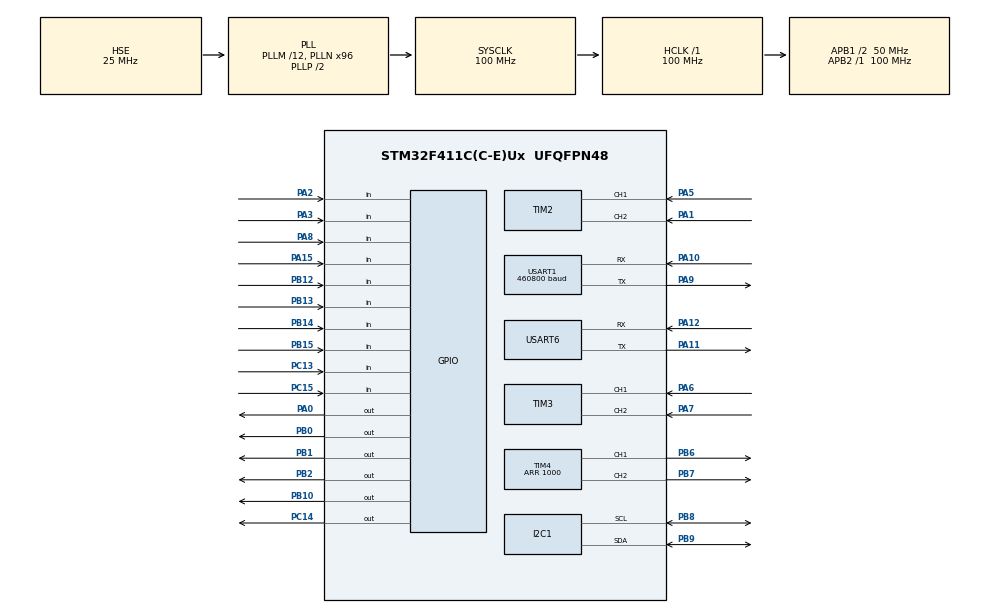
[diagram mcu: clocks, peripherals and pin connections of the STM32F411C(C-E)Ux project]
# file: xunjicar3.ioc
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Dma.Request0=USART1_RX
Dma.USART1_RX.0.Direction=DMA_PERIPH_TO_MEMORY
Dma.USART1_RX.0.FIFOMode=DMA_FIFOMODE_DISABLE
Dma.USART1_RX.0.Instance=DMA2_Stream2
Dma.USART1_RX.0.MemDataAlignment=DMA_MDATAALIGN_BYTE
Dma.USART1_RX.0.MemInc=DMA_MINC_ENABLE
Dma.USART1_RX.0.Mode=DMA_NORMAL
Dma.USART1_RX.0.PeriphDataAlignment=DMA_PDATAALIGN_BYTE
Dma.USART1_RX.0.PeriphInc=DMA_PINC_DISABLE
Dma.USART1_RX.0.Priority=DMA_PRIORITY_HIGH
Mcu.Family=STM32F4
Mcu.Name=STM32F411C(C-E)Ux
Mcu.Package=UFQFPN48
NVIC.DMA2_Stream2_IRQn=true\:0\:0\:false\:false\:true\:false\:true\:true
NVIC.PriorityGroup=NVIC_PRIORITYGROUP_4
NVIC.TIM1_UP_TIM10_IRQn=true\:0\:0\:false\:false\:true\:true\:true\:true
NVIC.USART1_IRQn=true\:2\:0\:true\:false\:true\:true\:true\:true
PA0-WKUP.PinState=GPIO_PIN_SET
PA0-WKUP.Signal=GPIO_Output
PA1.Signal=S_TIM2_CH2
PA10.Mode=Asynchronous
PA10.Signal=USART1_RX
PA11.Mode=Asynchronous
PA11.Signal=USART6_TX
PA12.Mode=Asynchronous
PA12.Signal=USART6_RX
PA13.Mode=Serial_Wire
PA13.Signal=SYS_JTMS-SWDIO
PA14.Mode=Serial_Wire
PA14.Signal=SYS_JTCK-SWCLK
PA15.GPIO_PuPd=GPIO_NOPULL
PA15.Signal=GPIO_Input
PA2.Signal=GPIO_Input
PA3.Signal=GPIO_Input
PA5.Signal=S_TIM2_CH1_ETR
PA6.Signal=S_TIM3_CH1
PA7.Signal=S_TIM3_CH2
PA8.Signal=GPIO_Input
PA9.Mode=Asynchronous
PA9.Signal=USART1_TX
PB0.Signal=GPIO_Output
PB1.Signal=GPIO_Output
PB10.Signal=GPIO_Output
PB12.Signal=GPIO_Input
PB13.Signal=GPIO_Input
PB14.Signal=GPIO_Input
PB15.Signal=GPIO_Input
PB2.Signal=GPIO_Output
PB6.Signal=S_TIM4_CH1
PB7.Signal=S_TIM4_CH2
PB8.Mode=I2C
PB8.Signal=I2C1_SCL
PB9.Mode=I2C
PB9.Signal=I2C1_SDA
PC13-ANTI_TAMP.Signal=GPIO_Input
PC14-OSC32_IN.PinState=GPIO_PIN_SET
PC14-OSC32_IN.Signal=GPIO_Output
PC15-OSC32_OUT.Signal=GPIO_Input
PH0\ -\ OSC_IN.Mode=HSE-External-Oscillator
PH0\ -\ OSC_IN.Signal=RCC_OSC_IN
PH1\ -\ OSC_OUT.Mode=HSE-External-Oscillator
PH1\ -\ OSC_OUT.Signal=RCC_OSC_OUT
ProjectManager.HeapSize=0x200
ProjectManager.StackSize=0x400
ProjectManager.TargetToolchain=STM32CubeIDE
RCC.48MHZClocksFreq_Value=50000000
RCC.AHBFreq_Value=100000000
RCC.APB1CLKDivider=RCC_HCLK_DIV2
RCC.APB1Freq_Value=50000000
RCC.APB1TimFreq_Value=100000000
RCC.APB2Freq_Value=100000000
RCC.APB2TimFreq_Value=100000000
RCC.CortexFreq_Value=100000000
RCC.HCLKFreq_Value=100000000
RCC.HSE_VALUE=25000000
RCC.HSI_VALUE=16000000
RCC.LSE_VALUE=32768
RCC.PLLM=12
RCC.PLLN=96
RCC.PLLSourceVirtual=RCC_PLLSOURCE_HSE
RCC.SYSCLKFreq_VALUE=100000000
RCC.SYSCLKSource=RCC_SYSCLKSOURCE_PLLCLK
RCC.VCOOutputFreq_Value=200000000
SH.S_TIM2_CH1_ETR.0=TIM2_CH1,Encoder_Interface
SH.S_TIM2_CH2.0=TIM2_CH2,Encoder_Interface
SH.S_TIM3_CH1.0=TIM3_CH1,Encoder_Interface
SH.S_TIM3_CH2.0=TIM3_CH2,Encoder_Interface
SH.S_TIM4_CH1.0=TIM4_CH1,PWM Generation1 CH1
SH.S_TIM4_CH2.0=TIM4_CH2,PWM Generation2 CH2
TIM10.Period=999
TIM10.Prescaler=999
TIM2.EncoderMode=TIM_ENCODERMODE_TI12
TIM3.EncoderMode=TIM_ENCODERMODE_TI12
TIM4.Channel-PWM\ Generation1\ CH1=TIM_CHANNEL_1
TIM4.Channel-PWM\ Generation2\ CH2=TIM_CHANNEL_2
TIM4.Period=1000
USART1.BaudRate=460800
USART1.VirtualMode=VM_ASYNC
USART6.VirtualMode=VM_ASYNC
VP_TIM10_VS_ClockSourceINT.Mode=Enable_Timer
board=custom

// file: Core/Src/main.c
/* USER CODE BEGIN Header */
/**
  ******************************************************************************
  * @file           : main.c
  * @brief          : Main program body
  ******************************************************************************
  * @attention
  *
  * Copyright (c) 2026 STMicroelectronics.
  * All rights reserved.
  *
  * This software is licensed under terms that can be found in the LICENSE file
  * in the root directory of this software component.
  * If no LICENSE file comes with this software, it is provided AS-IS.
  *
  ******************************************************************************
  */
/* USER CODE END Header */
#include "main.h"
#include "dma.h"
#include "i2c.h"
#include "tim.h"
#include "usart.h"
#include "gpio.h"

/* USER CODE BEGIN Includes */
#include <string.h>
#include "control.h"
#include "oled.h"
#include "stdio.h"
/* USER CODE END Includes */

/* USER CODE BEGIN PTD */

uint32_t last_tick = 0; //oled 调试信息上次打印的时间
uint8_t display_buf[64]; //显示信息缓冲区
uint32_t last_vision_time = 0; //上一次视觉识别时间
int err_x = 0, err_y = 0;
int distance = 0;
#define RX_MAX_LEN 128  //串口dma中断
char rx_buffer[RX_MAX_LEN + 1]; //串口dma中断
uint8_t rx_flag = 0; //串口dma中断
uint16_t rx_packet_len = 0; //串口dma中断

/* USER CODE END PTD */

void SystemClock_Config(void);

int main(void)
{

  /* MCU Configuration--------------------------------------------------------*/

  /* Reset of all peripherals, Initializes the Flash interface and the Systick. */
  HAL_Init();

  /* Configure the system clock */
  SystemClock_Config();

  /* Initialize all configured peripherals */
  MX_GPIO_Init();
  MX_DMA_Init();
  MX_TIM2_Init();
  MX_TIM3_Init();
  MX_TIM4_Init();
  MX_TIM10_Init();
  MX_USART1_UART_Init();
  MX_I2C1_Init();
  MX_USART6_UART_Init();
  /* USER CODE BEGIN 2 */
    HAL_GPIO_WritePin(GPIOC, GPIO_PIN_14, GPIO_PIN_SET);
    HAL_GPIO_WritePin(GPIOC, GPIO_PIN_13, GPIO_PIN_RESET);
    OLED_Init();
    OLED_Clear();
    OLED_ShowString(0, 0, "System Init...", 12);

    Motor_Init(&MotorA,
               GPIOB, GPIO_PIN_2,
               GPIOB, GPIO_PIN_10,
               &htim4, TIM_CHANNEL_1,
               &htim2);

    Motor_Init(&MotorB,
               GPIOB, GPIO_PIN_1,
               GPIOB, GPIO_PIN_0,
               &htim4, TIM_CHANNEL_2,
               &htim3);
    Car_Strategy_Init();

    HAL_TIM_Base_Start_IT(&htim10);
    HAL_UARTEx_ReceiveToIdle_DMA(&huart1, (uint8_t*)rx_buffer, RX_MAX_LEN);

    OLED_ShowString(0, 1, "Ready to Go!", 12);
  /* USER CODE END 2 */

  /* Infinite loop */
  /* USER CODE BEGIN WHILE */
    while (1)
    {

        static uint8_t key_lock = 0;

        if (HAL_GPIO_ReadPin(GPIOA, GPIO_PIN_15) == GPIO_PIN_RESET) // 检测到按键按下
        {
            if (key_lock == 0)
            {
                HAL_Delay(20); // 软件消抖
                if (HAL_GPIO_ReadPin(GPIOA, GPIO_PIN_15) == GPIO_PIN_RESET)
                {
                    // 核心逻辑：在 TRACKING 和 FINISHED 之间来回翻转
                    if (Current_Stop_State == STATE_TRACKING)
                    {
                        Current_Stop_State = STATE_FINISHED;
                        finish_camera_task = 1;

                        // 【安全保护】：强行切到完成状态时，立刻让电机断电停止
                        Car_Set_Speed(&MotorA, 0);
                        Car_Set_Speed(&MotorB, 0);
                    }
                    else
                    {
                        // 重新开始循迹
                        car_mode = MODE_LINE_TRACKING;      // 确保主模式正确
                        Current_Stop_State = STATE_TRACKING; // 切换回循迹阶段
                        Car_Strategy_Init();
                        distance = 0;
                        finish_camera_task = 0;
                    }

                    key_lock = 1; // 锁死按键
                }
            }
        }
        else
        {
            key_lock = 0; // 手松开，解锁
        }

        // 视觉超时保护，100ms 没收到有效视觉包，自动退回循迹
        if (car_mode == MODE_VISION_FOLLOW)
        {
            if (HAL_GetTick() - last_vision_time > 100)
            {
                car_mode = MODE_LINE_TRACKING;
                Car_Set_Speed(&MotorA, 0);
                Car_Set_Speed(&MotorB, 0);
            }
        }

        // 视觉模式控制

       if (rx_flag == 1)
        {
            // === 【核心优化 1】：引入影子缓冲区，保护活体 DMA 内存 ===
            static char parse_buffer[RX_MAX_LEN + 1];

            uint16_t len = rx_packet_len;
            if (len > RX_MAX_LEN) len = RX_MAX_LEN;

            // 瞬间把数据捞出来，不给 DMA 干扰的机会
            memcpy(parse_buffer, rx_buffer, len);
            parse_buffer[len] = '\0';

            // 捞完数据立刻允许接收下一帧，且绝对不要对 rx_buffer 动用 memset！
            rx_flag = 0;

            // 局部变量初始化
            int local_err_x = 0, local_err_y = 0, local_distance = 0;

            // === 【核心优化 2】：推荐在 OpenMV 端将发送格式改为 "#%d,%d,%d\r\n" ===
            // 如果 OpenMV 端加了 '#' 帧头，这里改成 sscanf(parse_buffer, "#%d,%d,%d", ...)
            int matched = sscanf(parse_buffer, "#%d,%d,%d", &local_err_x, &local_err_y, &local_distance);

            if (matched == 3)
            {
                // 数据合法性刚性过滤（根据 OpenMV 实际范围加一道防火墙）
                // 既然 OpenMV 只发 20~100，任何超出这个范围的数据直接丢弃！
                if (local_distance >= 10 && local_distance <= 110)
                {
                    // 校验通过，再赋值给全局变量
                    err_x = local_err_x;
                    err_y = local_err_y;
                    distance = local_distance;

                    if (finish_camera_task == 0)
                    {
                        if (car_mode == MODE_LINE_TRACKING && distance <= STOP_DISTANCE)
                        {
                            car_mode = MODE_VISION_FOLLOW;
                        }

                        if (car_mode == MODE_VISION_FOLLOW)
                        {
                            last_vision_time = HAL_GetTick();

                            // 你的刚性限幅保持
                            if (distance >= 100) distance = 100;

                            track_camera((float)err_x, (float)distance);
                        }
                    }
                }
            }
            // 【核心优化 3】：删除了原先的 memset(rx_buffer, 0, RX_MAX_LEN);
        }

        //显示信息
        if (HAL_GetTick() - last_tick >= 500)
        {
            last_tick = HAL_GetTick();
            sprintf((char*)display_buf, "dist:%d     ", distance);
            OLED_ShowString(0, 6, display_buf, 16);
            sprintf((char*)display_buf, "Lt%.2f;Rt%.2f", MotorA.speed_target, MotorB.speed_target);
            OLED_ShowString(0, 0, display_buf, 12);

            sprintf((char*)display_buf, "Lr%.2f;Rr%.2f", MotorA.speed, MotorB.speed);
            OLED_ShowString(0, 1, display_buf, 12);

            if (car_mode == MODE_LINE_TRACKING)
            {
                OLED_ShowString(0, 2, (uint8_t*)"Mode: TRACKING ", 12);
            }
            if (car_mode == MODE_VISION_FOLLOW)
            {
                OLED_ShowString(0, 2, (uint8_t*)"Mode: VISION   ", 12);
            }
            if (car_mode == MODE_STANDBY)
            {
                OLED_ShowString(0, 2, (uint8_t*)"Mode: STANDBY   ", 12);
            }
            if (car_mode == MODE_BACKING)
            {
                OLED_ShowString(0, 2, (uint8_t*)"Mode: BACKING   ", 12);
            }

            if (Current_Stop_State == STATE_TRACKING)
            {
                OLED_ShowString(0, 3, (uint8_t*)"Mode1", 12);
            }
            if (Current_Stop_State == STATE_CROSSING_BAR)
            {
                OLED_ShowString(0, 3, (uint8_t*)"Mode2", 12);
            }
            if (Current_Stop_State == STATE_MOVE_TO_GARAGE)
            {
                OLED_ShowString(0, 3, (uint8_t*)"Mode3", 12);
            }
            if (Current_Stop_State == STATE_FINISHED)
            {
                OLED_ShowString(0, 3, (uint8_t*)"Mode4", 12);
            }
        }
    /* USER CODE END WHILE */

    }
}

void SystemClock_Config(void)
{
  RCC_OscInitTypeDef RCC_OscInitStruct = {0};
  RCC_ClkInitTypeDef RCC_ClkInitStruct = {0};

  /** Configure the main internal regulator output voltage
  */
  __HAL_RCC_PWR_CLK_ENABLE();
  __HAL_PWR_VOLTAGESCALING_CONFIG(PWR_REGULATOR_VOLTAGE_SCALE1);

  /** Initializes the RCC Oscillators according to the specified parameters
  * in the RCC_OscInitTypeDef structure.
  */
  RCC_OscInitStruct.OscillatorType = RCC_OSCILLATORTYPE_HSE;
  RCC_OscInitStruct.HSEState = RCC_HSE_ON;
  RCC_OscInitStruct.PLL.PLLState = RCC_PLL_ON;
  RCC_OscInitStruct.PLL.PLLSource = RCC_PLLSOURCE_HSE;
  RCC_OscInitStruct.PLL.PLLM = 12;
  RCC_OscInitStruct.PLL.PLLN = 96;
  RCC_OscInitStruct.PLL.PLLP = RCC_PLLP_DIV2;
  RCC_OscInitStruct.PLL.PLLQ = 4;
  if (HAL_RCC_OscConfig(&RCC_OscInitStruct) != HAL_OK)
  {
    Error_Handler();
  }

  /** Initializes the CPU, AHB and APB buses clocks
  */
  RCC_ClkInitStruct.ClockType = RCC_CLOCKTYPE_HCLK|RCC_CLOCKTYPE_SYSCLK
                              |RCC_CLOCKTYPE_PCLK1|RCC_CLOCKTYPE_PCLK2;
  RCC_ClkInitStruct.SYSCLKSource = RCC_SYSCLKSOURCE_PLLCLK;
  RCC_ClkInitStruct.AHBCLKDivider = RCC_SYSCLK_DIV1;
  RCC_ClkInitStruct.APB1CLKDivider = RCC_HCLK_DIV2;
  RCC_ClkInitStruct.APB2CLKDivider = RCC_HCLK_DIV1;

  if (HAL_RCC_ClockConfig(&RCC_ClkInitStruct, FLASH_LATENCY_3) != HAL_OK)
  {
    Error_Handler();
  }
}

/* USER CODE BEGIN 4 */

#ifdef __GNUC__
#define PUTCHAR_PROTOTYPE int __io_putchar(int ch)
#else
#define PUTCHAR_PROTOTYPE int fputc(int ch, FILE *f)
#endif
PUTCHAR_PROTOTYPE
{
    HAL_UART_Transmit(&huart1, (uint8_t*)&ch, 1, 0xFFFF);
    return ch;
}

/**
 * @brief  DMA + 串口空闲中断回调函数
 * @param  huart
 * @param  Size: DMA 硬件自动统计出的这一帧文字的总字节数
 */
void HAL_UARTEx_RxEventCallback(UART_HandleTypeDef* huart, uint16_t Size)
{
    if (huart->Instance == USART1)
    {
        // 健壮性保护：如果异常数据超过了设定的最大长度，强行截断，防止打爆内存
        if (Size > RX_MAX_LEN) { Size = RX_MAX_LEN; }
        rx_packet_len = Size;
        rx_buffer[Size] = '\0';

        rx_flag = 1;
        HAL_UARTEx_ReceiveToIdle_DMA(&huart1, (uint8_t*)rx_buffer, RX_MAX_LEN);
    }
}

void HAL_UART_ErrorCallback(UART_HandleTypeDef* huart)
{
    if (huart->Instance == USART1)
    {
        __HAL_UART_CLEAR_OREFLAG(huart);
        HAL_UARTEx_ReceiveToIdle_DMA(&huart1, (uint8_t*)rx_buffer, RX_MAX_LEN);
    }
}

/* USER CODE END 4 */

void Error_Handler(void)
{
    __disable_irq();
    while (1)
    {
    }
}
